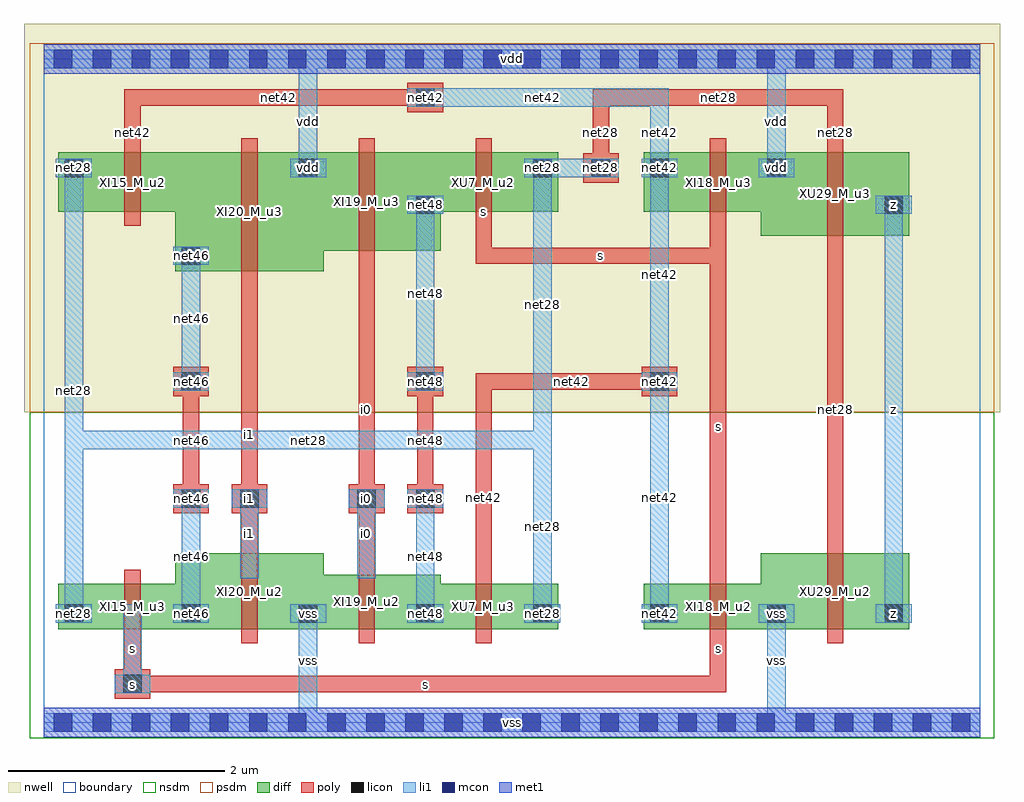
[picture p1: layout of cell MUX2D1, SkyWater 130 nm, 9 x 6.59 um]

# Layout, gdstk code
import gdstk
lib = gdstk.Library(unit=1e-6, precision=1e-09)
def R(c, l, rs):  # rectangles x0, y0, x1, y1
    for r in rs: c.add(gdstk.rectangle(r[:2], r[2:], *l))
def A(c, l, x, y, w, h, nx, ny, dx, dy):  # array of equal rectangles
    R(c, l, [(x+i*dx, y+j*dy, x+i*dx+w, y+j*dy+h) for i in range(nx) for j in range(ny)])
L0_0 = (0, 0)
nwell = (64, 20)
diff = (65, 20)
poly = (66, 20)
licon = (66, 44)
li1 = (67, 20)
mcon = (67, 44)
met1 = (68, 20)
nsdm = (93, 44)
psdm = (94, 20)
boundary = (235, 4)

mux2d1 = lib.new_cell('MUX2D1')
R(mux2d1, nwell, [(-0.18,2.86,8.82,6.445)])
A(mux2d1, diff, 0.135, 0.86, 0.29, 0.29, 8, 1, 1.08, 0)
A(mux2d1, diff, 0.135, 4.97, 0.29, 0.29, 3, 1, 2.16, 0)
R(mux2d1, diff, [(0.135,0.86,1.505,1.28), (1.215,0.86,2.585,1.56), (2.295,0.86,3.665,1.365), (3.375,0.86,4.745,1.28), (5.535,0.86,6.905,1.28), (6.615,0.86,7.985,1.56), (1.215,4.16,2.585,5.26), (1.215,4.16,1.505,4.45), (2.295,4.35,3.665,5.26), (6.615,4.49,7.985,5.26), (3.375,4.63,3.665,4.92), (7.695,4.63,7.985,4.92), (0.135,4.71,1.505,5.26), (3.375,4.71,4.745,5.26), (5.535,4.71,6.905,5.26), (5.535,4.97,5.825,5.26), (6.615,4.97,6.905,5.26)])
A(mux2d1, poly, 1.195, 3.01, 0.33, 0.27, 3, 1, 2.16, 0)
R(mux2d1, poly, [(0.655,0.22,0.985,0.49), (0.745,0.28,0.895,1.08), (0.745,0.28,6.295,0.43), (6.145,0.28,6.295,1.08), (6.145,0.28,6.295,5.19), (0.745,0.73,0.895,1.41), (1.825,0.73,1.975,1.69), (2.905,0.73,3.055,1.495), (3.985,0.73,4.135,1.41), (6.145,0.73,6.295,1.41), (7.225,0.73,7.375,1.69), (1.825,0.93,1.975,4.38), (2.905,0.93,3.055,4.85), (3.985,0.93,4.135,3.22), (6.145,0.93,6.295,4.38), (7.225,0.93,7.375,4.85), (1.195,1.93,1.525,2.2), (1.735,1.93,2.065,2.2), (2.815,1.93,3.145,2.2), (3.355,1.93,3.685,2.2), (1.285,1.99,1.435,3.22), (3.445,1.99,3.595,3.22), (3.985,3.07,5.755,3.22), (1.825,4.03,1.975,5.39), (2.905,4.22,3.055,5.39), (3.985,4.23,4.135,5.19), (3.985,4.23,6.295,4.38), (7.225,4.36,7.375,5.39), (0.745,4.58,0.895,5.39), (3.985,4.58,4.135,5.39), (6.145,4.58,6.295,5.39), (4.975,4.98,5.305,5.25), (0.745,5.04,0.895,5.84), (5.065,5.04,5.215,5.84), (7.225,5.04,7.375,5.84), (3.355,5.63,3.685,5.9), (0.745,5.69,3.595,5.84), (5.065,5.69,7.375,5.84)])
A(mux2d1, licon, 0.195, 0.92, 0.17, 0.17, 8, 1, 1.08, 0)
A(mux2d1, licon, 1.275, 3.06, 0.17, 0.17, 3, 1, 2.16, 0)
A(mux2d1, licon, 0.195, 5.03, 0.17, 0.17, 3, 1, 2.16, 0)
R(mux2d1, licon, [(0.735,0.27,0.905,0.44), (1.275,1.98,1.445,2.15), (1.815,1.98,1.985,2.15), (2.895,1.98,3.065,2.15), (3.435,1.98,3.605,2.15), (1.275,4.22,1.445,4.39), (3.435,4.69,3.605,4.86), (7.755,4.69,7.925,4.86), (5.055,5.03,5.225,5.2), (5.595,5.03,5.765,5.2), (6.675,5.03,6.845,5.2), (3.435,5.68,3.605,5.85)])
A(mux2d1, li1, 0.115, 0.92, 0.33, 0.17, 8, 1, 1.08, 0)
A(mux2d1, li1, 1.195, 3.06, 0.33, 0.17, 3, 1, 2.16, 0)
A(mux2d1, li1, 0.115, 5.03, 0.33, 0.17, 3, 1, 2.16, 0)
R(mux2d1, li1, [(0,-0.085,8.64,0.085), (2.355,0.06,2.525,1.09), (6.675,0.06,6.845,1.09), (0.655,0.27,0.985,0.44), (0.735,0.27,0.905,1.09), (0.195,0.92,0.365,5.2), (1.275,0.92,1.445,2.15), (3.435,0.92,3.605,2.15), (4.515,0.92,4.685,2.69), (5.595,0.92,5.765,3.23), (7.755,0.92,7.925,4.86), (1.815,1.33,1.985,2.15), (2.895,1.33,3.065,2.15), (1.195,1.98,1.525,2.15), (1.735,1.98,2.065,2.15), (2.815,1.98,3.145,2.15), (3.355,1.98,3.685,2.15), (0.195,2.52,4.685,2.69), (4.515,2.52,4.685,5.2), (1.275,3.06,1.445,4.39), (3.435,3.06,3.605,4.86), (5.595,3.06,5.765,5.2), (1.195,4.22,1.525,4.39), (3.355,4.69,3.685,4.86), (7.675,4.69,8.005,4.86), (2.355,5.03,2.525,6.06), (4.515,5.03,5.225,5.2), (4.975,5.03,5.305,5.2), (5.515,5.03,5.845,5.2), (5.595,5.03,5.765,5.85), (6.595,5.03,6.925,5.2), (6.675,5.03,6.845,6.06), (3.355,5.68,3.685,5.85), (3.435,5.68,5.765,5.85), (0,6.035,8.64,6.205)])
A(mux2d1, mcon, 0.095, -0.085, 0.17, 0.17, 24, 2, 0.36, 6.12)
R(mux2d1, met1, [(0,-0.135,8.64,0.135), (0,5.985,8.64,6.255)])
R(mux2d1, nsdm, [(-0.125,-0.145,8.765,0.145), (-0.125,0.145,8.765,2.86)])
R(mux2d1, psdm, [(-0.125,2.86,8.765,5.975), (-0.125,5.975,8.765,6.265)])
R(mux2d1, boundary, [(0,0,8.64,6.12)])
mux2d1.add(gdstk.FlexPath([(0.115,0.355),(8.005,0.355)], 0, ends="flush", simple_path=True, layer=0, datatype=0))  # L0_0
mux2d1.add(gdstk.FlexPath([(0.115,1.005),(8.005,1.005)], 0, ends="flush", simple_path=True, layer=0, datatype=0))  # L0_0
mux2d1.add(gdstk.FlexPath([(0.115,1.415),(8.005,1.415)], 0, ends="flush", simple_path=True, layer=0, datatype=0))  # L0_0
mux2d1.add(gdstk.FlexPath([(0.115,2.065),(8.005,2.065)], 0, ends="flush", simple_path=True, layer=0, datatype=0))  # L0_0
mux2d1.add(gdstk.FlexPath([(0.115,2.605),(8.005,2.605)], 0, ends="flush", simple_path=True, layer=0, datatype=0))  # L0_0
mux2d1.add(gdstk.FlexPath([(0.115,3.145),(8.005,3.145)], 0, ends="flush", simple_path=True, layer=0, datatype=0))  # L0_0
mux2d1.add(gdstk.FlexPath([(0.115,4.305),(8.005,4.305)], 0, ends="flush", simple_path=True, layer=0, datatype=0))  # L0_0
mux2d1.add(gdstk.FlexPath([(0.115,4.775),(8.005,4.775)], 0, ends="flush", simple_path=True, layer=0, datatype=0))  # L0_0
mux2d1.add(gdstk.FlexPath([(0.115,5.115),(8.005,5.115)], 0, ends="flush", simple_path=True, layer=0, datatype=0))  # L0_0
mux2d1.add(gdstk.FlexPath([(0.115,5.765),(8.005,5.765)], 0, ends="flush", simple_path=True, layer=0, datatype=0))  # L0_0
mux2d1.add(gdstk.FlexPath([(0.28,0.06),(0.28,6.06)], 0, ends="flush", simple_path=True, layer=0, datatype=0))  # L0_0
mux2d1.add(gdstk.FlexPath([(0.82,0.06),(0.82,6.06)], 0, ends="flush", simple_path=True, layer=0, datatype=0))  # L0_0
mux2d1.add(gdstk.FlexPath([(1.36,0.06),(1.36,6.06)], 0, ends="flush", simple_path=True, layer=0, datatype=0))  # L0_0
mux2d1.add(gdstk.FlexPath([(1.9,0.06),(1.9,6.06)], 0, ends="flush", simple_path=True, layer=0, datatype=0))  # L0_0
mux2d1.add(gdstk.FlexPath([(2.44,0.06),(2.44,6.06)], 0, ends="flush", simple_path=True, layer=0, datatype=0))  # L0_0
mux2d1.add(gdstk.FlexPath([(2.98,0.06),(2.98,6.06)], 0, ends="flush", simple_path=True, layer=0, datatype=0))  # L0_0
mux2d1.add(gdstk.FlexPath([(3.52,0.06),(3.52,6.06)], 0, ends="flush", simple_path=True, layer=0, datatype=0))  # L0_0
mux2d1.add(gdstk.FlexPath([(4.06,0.06),(4.06,6.06)], 0, ends="flush", simple_path=True, layer=0, datatype=0))  # L0_0
mux2d1.add(gdstk.FlexPath([(4.6,0.06),(4.6,6.06)], 0, ends="flush", simple_path=True, layer=0, datatype=0))  # L0_0
mux2d1.add(gdstk.FlexPath([(5.14,0.06),(5.14,6.06)], 0, ends="flush", simple_path=True, layer=0, datatype=0))  # L0_0
mux2d1.add(gdstk.FlexPath([(5.68,0.06),(5.68,6.06)], 0, ends="flush", simple_path=True, layer=0, datatype=0))  # L0_0
mux2d1.add(gdstk.FlexPath([(6.22,0.06),(6.22,6.06)], 0, ends="flush", simple_path=True, layer=0, datatype=0))  # L0_0
mux2d1.add(gdstk.FlexPath([(6.76,0.06),(6.76,6.06)], 0, ends="flush", simple_path=True, layer=0, datatype=0))  # L0_0
mux2d1.add(gdstk.FlexPath([(7.3,0.06),(7.3,6.06)], 0, ends="flush", simple_path=True, layer=0, datatype=0))  # L0_0
mux2d1.add(gdstk.FlexPath([(7.84,0.06),(7.84,6.06)], 0, ends="flush", simple_path=True, layer=0, datatype=0))  # L0_0
mux2d1.add(gdstk.Label('XI15_M_u3', (0.82,1.07), layer=65, texttype=20))
mux2d1.add(gdstk.Label('XU7_M_u3', (4.06,1.07), layer=65, texttype=20))
mux2d1.add(gdstk.Label('XI20_M_u2', (1.9,1.21), layer=65, texttype=20))
mux2d1.add(gdstk.Label('XI19_M_u2', (2.98,1.113), layer=65, texttype=20))
mux2d1.add(gdstk.Label('XI18_M_u2', (6.22,1.07), layer=65, texttype=20))
mux2d1.add(gdstk.Label('XU29_M_u2', (7.3,1.21), layer=65, texttype=20))
mux2d1.add(gdstk.Label('XI15_M_u2', (0.82,4.985), layer=65, texttype=20))
mux2d1.add(gdstk.Label('XU7_M_u2', (4.06,4.985), layer=65, texttype=20))
mux2d1.add(gdstk.Label('XI20_M_u3', (1.9,4.71), layer=65, texttype=20))
mux2d1.add(gdstk.Label('XI19_M_u3', (2.98,4.805), layer=65, texttype=20))
mux2d1.add(gdstk.Label('XI18_M_u3', (6.22,4.985), layer=65, texttype=20))
mux2d1.add(gdstk.Label('XU29_M_u3', (7.3,4.875), layer=65, texttype=20))
mux2d1.add(gdstk.Label('net46', (1.36,1.005), layer=65, texttype=20))
mux2d1.add(gdstk.Label('net46', (1.36,4.305), layer=65, texttype=20))
mux2d1.add(gdstk.Label('net28', (0.28,1.005), layer=65, texttype=20))
mux2d1.add(gdstk.Label('net28', (4.6,1.005), layer=65, texttype=20))
mux2d1.add(gdstk.Label('net28', (0.28,5.115), layer=65, texttype=20))
mux2d1.add(gdstk.Label('net28', (4.6,5.115), layer=65, texttype=20))
mux2d1.add(gdstk.Label('net48', (3.52,1.005), layer=65, texttype=20))
mux2d1.add(gdstk.Label('net48', (3.52,4.775), layer=65, texttype=20))
mux2d1.add(gdstk.Label('net42', (5.68,1.005), layer=65, texttype=20))
mux2d1.add(gdstk.Label('net42', (5.68,5.115), layer=65, texttype=20))
mux2d1.add(gdstk.Label('z', (7.84,1.005), layer=65, texttype=20))
mux2d1.add(gdstk.Label('z', (7.84,4.775), layer=65, texttype=20))
mux2d1.add(gdstk.Label('vss', (2.44,1.005), layer=65, texttype=20))
mux2d1.add(gdstk.Label('vss', (6.76,1.005), layer=65, texttype=20))
mux2d1.add(gdstk.Label('vdd', (2.44,5.115), layer=65, texttype=20))
mux2d1.add(gdstk.Label('vdd', (6.76,5.115), layer=65, texttype=20))
mux2d1.add(gdstk.Label('net46', (1.36,2.065), layer=66, texttype=20))
mux2d1.add(gdstk.Label('net46', (1.36,2.605), layer=66, texttype=20))
mux2d1.add(gdstk.Label('net46', (1.36,3.145), layer=66, texttype=20))
mux2d1.add(gdstk.Label('s', (0.82,0.68), layer=66, texttype=20))
mux2d1.add(gdstk.Label('s', (3.52,0.355), layer=66, texttype=20))
mux2d1.add(gdstk.Label('s', (6.22,2.735), layer=66, texttype=20))
mux2d1.add(gdstk.Label('s', (6.22,2.655), layer=66, texttype=20))
mux2d1.add(gdstk.Label('s', (5.14,4.305), layer=66, texttype=20))
mux2d1.add(gdstk.Label('s', (4.06,4.71), layer=66, texttype=20))
mux2d1.add(gdstk.Label('s', (6.22,0.68), layer=66, texttype=20))
mux2d1.add(gdstk.Label('s', (0.82,0.355), layer=66, texttype=20))
mux2d1.add(gdstk.Label('net28', (7.3,2.89), layer=66, texttype=20))
mux2d1.add(gdstk.Label('net28', (5.14,5.115), layer=66, texttype=20))
mux2d1.add(gdstk.Label('net28', (5.14,5.44), layer=66, texttype=20))
mux2d1.add(gdstk.Label('net28', (6.22,5.765), layer=66, texttype=20))
mux2d1.add(gdstk.Label('net28', (7.3,5.44), layer=66, texttype=20))
mux2d1.add(gdstk.Label('net48', (3.52,2.065), layer=66, texttype=20))
mux2d1.add(gdstk.Label('net48', (3.52,2.605), layer=66, texttype=20))
mux2d1.add(gdstk.Label('net48', (3.52,3.145), layer=66, texttype=20))
mux2d1.add(gdstk.Label('net42', (4.06,2.075), layer=66, texttype=20))
mux2d1.add(gdstk.Label('net42', (4.87,3.145), layer=66, texttype=20))
mux2d1.add(gdstk.Label('net42', (5.68,3.145), layer=66, texttype=20))
mux2d1.add(gdstk.Label('net42', (0.82,5.44), layer=66, texttype=20))
mux2d1.add(gdstk.Label('net42', (2.17,5.765), layer=66, texttype=20))
mux2d1.add(gdstk.Label('net42', (3.52,5.765), layer=66, texttype=20))
mux2d1.add(gdstk.Label('i1', (1.9,2.655), layer=66, texttype=20))
mux2d1.add(gdstk.Label('i1', (1.9,2.065), layer=66, texttype=20))
mux2d1.add(gdstk.Label('i0', (2.98,2.89), layer=66, texttype=20))
mux2d1.add(gdstk.Label('i0', (2.98,2.065), layer=66, texttype=20))
mux2d1.add(gdstk.Label('net46', (1.36,1.005), layer=66, texttype=44))
mux2d1.add(gdstk.Label('net46', (1.36,4.305), layer=66, texttype=44))
mux2d1.add(gdstk.Label('net46', (1.36,2.065), layer=66, texttype=44))
mux2d1.add(gdstk.Label('net46', (1.36,3.145), layer=66, texttype=44))
mux2d1.add(gdstk.Label('s', (0.82,0.355), layer=66, texttype=44))
mux2d1.add(gdstk.Label('net28', (0.28,1.005), layer=66, texttype=44))
mux2d1.add(gdstk.Label('net28', (4.6,1.005), layer=66, texttype=44))
mux2d1.add(gdstk.Label('net28', (0.28,5.115), layer=66, texttype=44))
mux2d1.add(gdstk.Label('net28', (4.6,5.115), layer=66, texttype=44))
mux2d1.add(gdstk.Label('net28', (5.14,5.115), layer=66, texttype=44))
mux2d1.add(gdstk.Label('net48', (3.52,1.005), layer=66, texttype=44))
mux2d1.add(gdstk.Label('net48', (3.52,4.775), layer=66, texttype=44))
mux2d1.add(gdstk.Label('net48', (3.52,2.065), layer=66, texttype=44))
mux2d1.add(gdstk.Label('net48', (3.52,3.145), layer=66, texttype=44))
mux2d1.add(gdstk.Label('net42', (5.68,1.005), layer=66, texttype=44))
mux2d1.add(gdstk.Label('net42', (5.68,5.115), layer=66, texttype=44))
mux2d1.add(gdstk.Label('net42', (5.68,3.145), layer=66, texttype=44))
mux2d1.add(gdstk.Label('net42', (3.52,5.765), layer=66, texttype=44))
mux2d1.add(gdstk.Label('i1', (1.9,2.065), layer=66, texttype=44))
mux2d1.add(gdstk.Label('i0', (2.98,2.065), layer=66, texttype=44))
mux2d1.add(gdstk.Label('z', (7.84,1.005), layer=66, texttype=44))
mux2d1.add(gdstk.Label('z', (7.84,4.775), layer=66, texttype=44))
mux2d1.add(gdstk.Label('vss', (2.44,1.005), layer=66, texttype=44))
mux2d1.add(gdstk.Label('vss', (6.76,1.005), layer=66, texttype=44))
mux2d1.add(gdstk.Label('vdd', (2.44,5.115), layer=66, texttype=44))
mux2d1.add(gdstk.Label('vdd', (6.76,5.115), layer=66, texttype=44))
mux2d1.add(gdstk.Label('net46', (1.36,1.005), layer=67, texttype=20))
mux2d1.add(gdstk.Label('net46', (1.36,4.305), layer=67, texttype=20))
mux2d1.add(gdstk.Label('net46', (1.36,1.535), layer=67, texttype=20))
mux2d1.add(gdstk.Label('net46', (1.36,2.065), layer=67, texttype=20))
mux2d1.add(gdstk.Label('net46', (1.36,3.145), layer=67, texttype=20))
mux2d1.add(gdstk.Label('net46', (1.36,3.725), layer=67, texttype=20))
mux2d1.add(gdstk.Label('s', (0.82,0.355), layer=67, texttype=16))
mux2d1.add(gdstk.Label('s', (0.82,0.68), layer=67, texttype=16))
mux2d1.add(gdstk.Label('net28', (0.28,1.005), layer=67, texttype=20))
mux2d1.add(gdstk.Label('net28', (4.6,1.005), layer=67, texttype=20))
mux2d1.add(gdstk.Label('net28', (0.28,5.115), layer=67, texttype=20))
mux2d1.add(gdstk.Label('net28', (4.6,5.115), layer=67, texttype=20))
mux2d1.add(gdstk.Label('net28', (0.28,3.06), layer=67, texttype=20))
mux2d1.add(gdstk.Label('net28', (4.6,1.805), layer=67, texttype=20))
mux2d1.add(gdstk.Label('net28', (2.44,2.605), layer=67, texttype=20))
mux2d1.add(gdstk.Label('net28', (4.6,3.86), layer=67, texttype=20))
mux2d1.add(gdstk.Label('net28', (4.87,5.115), layer=67, texttype=20))
mux2d1.add(gdstk.Label('net28', (5.14,5.115), layer=67, texttype=20))
mux2d1.add(gdstk.Label('net48', (3.52,1.005), layer=67, texttype=20))
mux2d1.add(gdstk.Label('net48', (3.52,4.775), layer=67, texttype=20))
mux2d1.add(gdstk.Label('net48', (3.52,1.535), layer=67, texttype=20))
mux2d1.add(gdstk.Label('net48', (3.52,2.065), layer=67, texttype=20))
mux2d1.add(gdstk.Label('net48', (3.52,3.145), layer=67, texttype=20))
mux2d1.add(gdstk.Label('net48', (3.52,3.96), layer=67, texttype=20))
mux2d1.add(gdstk.Label('net42', (5.68,1.005), layer=67, texttype=20))
mux2d1.add(gdstk.Label('net42', (5.68,5.115), layer=67, texttype=20))
mux2d1.add(gdstk.Label('net42', (5.68,3.145), layer=67, texttype=20))
mux2d1.add(gdstk.Label('net42', (5.68,4.13), layer=67, texttype=20))
mux2d1.add(gdstk.Label('net42', (5.68,2.075), layer=67, texttype=20))
mux2d1.add(gdstk.Label('net42', (3.52,5.765), layer=67, texttype=20))
mux2d1.add(gdstk.Label('net42', (4.6,5.765), layer=67, texttype=20))
mux2d1.add(gdstk.Label('net42', (5.68,5.44), layer=67, texttype=20))
mux2d1.add(gdstk.Label('i1', (1.9,2.065), layer=67, texttype=16))
mux2d1.add(gdstk.Label('i1', (1.9,1.74), layer=67, texttype=16))
mux2d1.add(gdstk.Label('i0', (2.98,2.065), layer=67, texttype=16))
mux2d1.add(gdstk.Label('i0', (2.98,1.74), layer=67, texttype=16))
mux2d1.add(gdstk.Label('z', (7.84,1.005), layer=67, texttype=16))
mux2d1.add(gdstk.Label('z', (7.84,4.775), layer=67, texttype=16))
mux2d1.add(gdstk.Label('z', (7.84,2.89), layer=67, texttype=16))
mux2d1.add(gdstk.Label('vss', (2.44,1.005), layer=67, texttype=20))
mux2d1.add(gdstk.Label('vss', (2.44,0.575), layer=67, texttype=20))
mux2d1.add(gdstk.Label('vss', (6.76,1.005), layer=67, texttype=20))
mux2d1.add(gdstk.Label('vss', (6.76,0.575), layer=67, texttype=20))
mux2d1.add(gdstk.Label('vdd', (2.44,5.115), layer=67, texttype=20))
mux2d1.add(gdstk.Label('vdd', (2.44,5.545), layer=67, texttype=20))
mux2d1.add(gdstk.Label('vdd', (6.76,5.115), layer=67, texttype=20))
mux2d1.add(gdstk.Label('vdd', (6.76,5.545), layer=67, texttype=20))
mux2d1.add(gdstk.Label('vss', (4.32,0), layer=67, texttype=16))
mux2d1.add(gdstk.Label('vdd', (4.32,6.12), layer=67, texttype=16))
mux2d1.add(gdstk.Label('vss', (4.32,0), layer=68, texttype=16))
mux2d1.add(gdstk.Label('vdd', (4.32,6.12), layer=68, texttype=16))

lib.write_gds('MUX2D1.gds')
